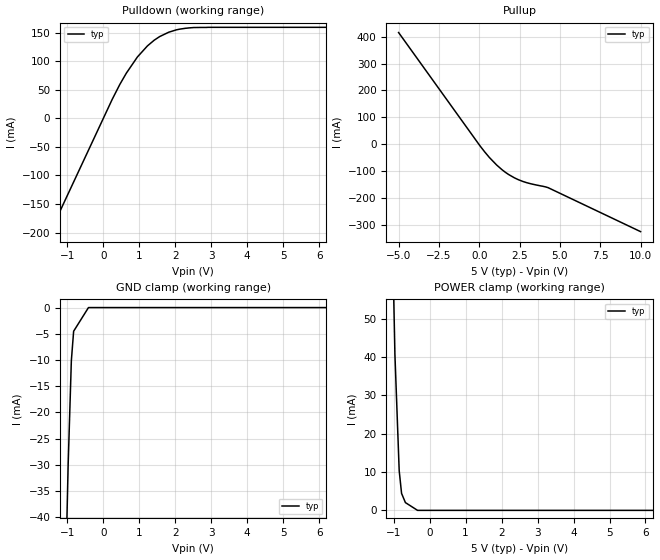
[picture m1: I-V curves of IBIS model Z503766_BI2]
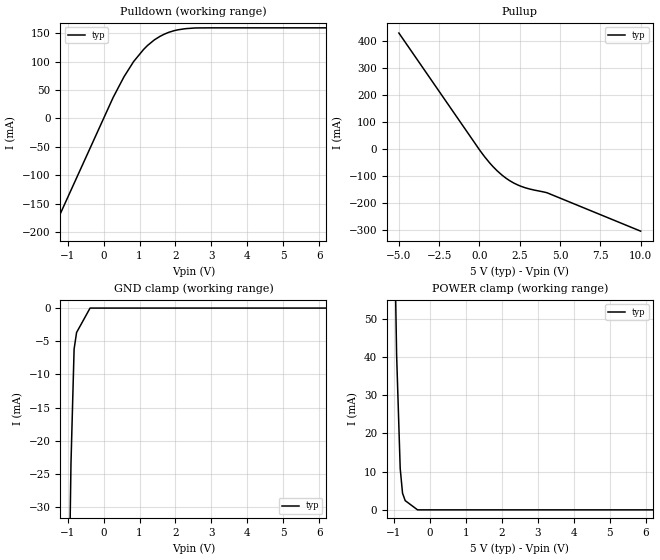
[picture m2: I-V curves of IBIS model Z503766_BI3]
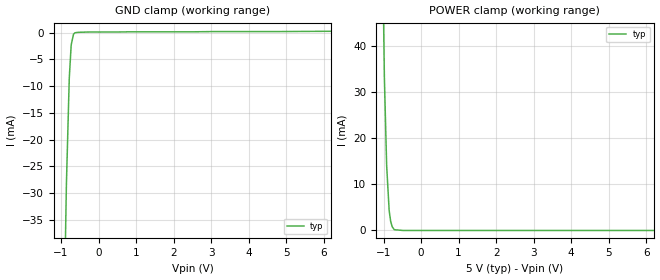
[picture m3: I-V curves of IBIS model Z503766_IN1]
| YOU ARE ONLY AUTHORIZED TO USE THIS SOFTWARE
| ACCORDING TO LICENSOR'S LICENSE RESTRICTIONS.
[IBIS Ver] 3.1
[File Name] mc74ac245n_5.ibs
[File Rev] 2.0
[Source] Measured and created by ICX Technology
[Date] Friday 7/14/00 9:07:59 AM
[Copyright]
| (C) COPYRIGHT 1993-2000
| MENTOR GRAPHICS CORPORATION
| ICX STANDARD LIBRARY, ICX PROJECT MODELING,
| ICX CUSTOM MODELING, ICX VENDOR MODEL
| ALL RIGHTS RESERVED.
| THE FOLLOWING ARE TRADEMARKS OR SERVICE MARKS OF
| MENTOR GRAPHICS CORPORATION:ICX (R), ICX STANDARD
| LIBRARY(R), ICX PROJECT MODELING(R), ICX CUSTOM
| MODELING(R), qualityIBIS(TM), MODELVIEWER(TM),
| AND MODELEDITOR(TM)
| ALL COPIES OF SOFTWARE, INCLUDING BUT NOT LIMITED TO
| ANY MODIFICATIONS, ENHANCEMENTS OR DERIVATIVE WORKS,
| MUST CONTAIN ALL MENTOR GRAPHICS CORPORATION'S
| NOTICES AND LEGENDS, INCLUDING THOSE EMBEDDED IN
| SOFTWARE AND THOSE AFFIXED TO SOFTWARE MEDIUM
| AND CONTAINER, AS RECEIVED FROM MENTOR GRAPHICS
| CORPORATION.
|  ZAP Model Builder 2.7
[Component] MC74AC245N_5
[Manufacturer] OnSemiconductor
[Package]
| variable   typ   min   max
R_pkg  .216ohms NA NA
L_pkg  5.76nH NA NA
C_pkg  1.29pF NA NA
[Pin] signal_name  model_name  R_pin  L_pin C_pin
1 DIR Z503766_IN1 .232 9.76n 1.87p
2 A0 Z503766_BI2 .224 7.26n 1.58p
3 A1 Z503766_BI2 .216 5.26n 1.29p
4 A2 Z503766_BI2 .208 3.76n 1.0p
5 A3 Z503766_BI2 .2 2.76n .71p
6 A4 Z503766_BI2 .2 2.76n .71p
7 A5 Z503766_BI2 .208 3.76n 1.0p
8 A6 Z503766_BI2 .216 5.26n 1.29p
9 A7 Z503766_BI2 .224 7.26n 1.58p
10 GND GND .232 9.76n 1.87p
11 B7 Z503766_BI3 .232 9.76n 1.87p
12 B6 Z503766_BI3 .224 7.26n 1.58p
13 B5 Z503766_BI3 .216 5.26n 1.29p
14 B4 Z503766_BI3 .208 3.76n 1.0p
15 B3 Z503766_BI3 .2 2.76n .71p
16 B2 Z503766_BI3 .2 2.76n .71p
17 B1 Z503766_BI3 .208 3.76n 1.0p
18 B0 Z503766_BI3 .216 5.26n 1.29p
19 _G Z503766_IN4 .224 7.26n 1.58p
20 VCC POWER .232 9.76n 1.87p
| Models and submodels in the file (4): Z503766_BI2 (I/O), Z503766_BI3 (I/O), Z503766_IN1 (Input), Z503766_IN4 (Input)
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| (C) COPYRIGHT 1993-2000
| MENTOR GRAPHICS CORPORATION
| ICX STANDARD LIBRARY, ICX PROJECT MODELING,
| ICX CUSTOM MODELING, ICX VENDOR MODEL
| ALL RIGHTS RESERVED.
| THE FOLLOWING ARE TRADEMARKS OR SERVICE MARKS OF
| MENTOR GRAPHICS CORPORATION:ICX (R), ICX STANDARD
| LIBRARY(R), ICX PROJECT MODELING(R), ICX CUSTOM
| MODELING(R), qualityIBIS(TM), MODELVIEWER(TM),
| AND MODELEDITOR(TM)
| ALL COPIES OF SOFTWARE, INCLUDING BUT NOT LIMITED TO
| ANY MODIFICATIONS, ENHANCEMENTS OR DERIVATIVE WORKS,
| MUST CONTAIN ALL MENTOR GRAPHICS CORPORATION'S
| NOTICES AND LEGENDS, INCLUDING THOSE EMBEDDED IN
| SOFTWARE AND THOSE AFFIXED TO SOFTWARE MEDIUM
| AND CONTAINER, AS RECEIVED FROM MENTOR GRAPHICS
| CORPORATION.
| Model Application Version 1.89 2/18/99.
[Model] Z503766_BI2
Model_type I/O
Vinl=1.500V
Vinh=3.500V
Vref=0.000V
Rref=500.0ohms
Cref=50.00pF
Vmeas=2.500V
C_comp 8.000pF NA NA
| variable typ   min   max
[Voltage Range] 5.000V NA NA
[POWER Clamp Reference] 5.000V NA NA
[Pullup Reference] 5.000V NA NA
[Pulldown Reference] 0.000V NA NA
[GND Clamp Reference] 0.000V NA NA
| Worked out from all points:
|   slope of the pulldown table from 0 to 0.75 V, typ, clamps not added: 8.39 ohm
|   slope of the pullup table from 0 to 0.75 V, typ, clamps not added: 13.7 ohm
[GND Clamp]
-5V       -1.23A     NA         NA
-976.6mV  -29.77mA   NA         NA
-888.7mV  -10.14mA   NA         NA
-825.2mV  -4.515mA   NA         NA
-412.6mV  0A         NA         NA
10V       0A         NA         NA
[Pulldown]
-5V       -675.2mA   NA         NA
249.6mV   33.76mA    NA         NA
460.6mV   59.81mA    NA         NA
639.5mV   79.31mA    NA         NA
948.7mV   107.8mA    NA         NA
1.226V    127.1mA    NA         NA
1.416V    137.2mA    NA         NA
1.818V    151.1mA    NA         NA
2.134V    156.6mA    NA         NA
2.51V     159.3mA    NA         NA
10V       159.7mA    NA         NA
[Pullup]
-5V       415.3mA    NA         NA
36mV      -5.378mA   NA         NA
625mV     -49.27mA   NA         NA
1.416V    -95.19mA   NA         NA
2.183V    -125.2mA   NA         NA
2.691V    -138.3mA   NA         NA
4.262V    -161.5mA   NA         NA
10V       -325.2mA   NA         NA
[POWER Clamp]
-5V       2.14A      NA         NA
-1.182V   137.2mA    NA         NA
-966mV    40.68mA    NA         NA
-847mV    10.34mA    NA         NA
-781mV    4.416mA    NA         NA
-674mV    2.024mA    NA         NA
-337mV    0A         NA         NA
10V       0A         NA         NA
[Ramp]
| variable typ min max
dV/dt_r 2.944/593.2p NA NA
dV/dt_f 2.944/402.6p NA NA
R_load = 500.0Ohms
| (C) COPYRIGHT 1993-2000
| MENTOR GRAPHICS CORPORATION
| ICX STANDARD LIBRARY, ICX PROJECT MODELING,
| ICX CUSTOM MODELING, ICX VENDOR MODEL
| ALL RIGHTS RESERVED.
| THE FOLLOWING ARE TRADEMARKS OR SERVICE MARKS OF
| MENTOR GRAPHICS CORPORATION:ICX (R), ICX STANDARD
| LIBRARY(R), ICX PROJECT MODELING(R), ICX CUSTOM
| MODELING(R), qualityIBIS(TM), MODELVIEWER(TM),
| AND MODELEDITOR(TM)
| ALL COPIES OF SOFTWARE, INCLUDING BUT NOT LIMITED TO
| ANY MODIFICATIONS, ENHANCEMENTS OR DERIVATIVE WORKS,
| MUST CONTAIN ALL MENTOR GRAPHICS CORPORATION'S
| NOTICES AND LEGENDS, INCLUDING THOSE EMBEDDED IN
| SOFTWARE AND THOSE AFFIXED TO SOFTWARE MEDIUM
| AND CONTAINER, AS RECEIVED FROM MENTOR GRAPHICS
| CORPORATION.
| Model Application Version 1.89 2/18/99.
[Model] Z503766_BI3
Model_type I/O
Vinl=1.500V
Vinh=3.500V
Vref=0.000V
Rref=500.0ohms
Cref=50.00pF
Vmeas=2.500V
C_comp 8.000pF NA NA
| variable typ   min   max
[Voltage Range] 5.000V NA NA
[POWER Clamp Reference] 5.000V NA NA
[Pullup Reference] 5.000V NA NA
[Pulldown Reference] 0.000V NA NA
[GND Clamp Reference] 0.000V NA NA
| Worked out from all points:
|   slope of the pulldown table from 0 to 0.75 V, typ, clamps not added: 8.19 ohm
|   slope of the pullup table from 0 to 0.75 V, typ, clamps not added: 13.3 ohm
[GND Clamp]
-5V       -1.289A    NA         NA
-1.085V   -89.42mA   NA         NA
-906.9mV  -23.39mA   NA         NA
-820mV    -6.178mA   NA         NA
-751mV    -3.676mA   NA         NA
-375.5mV  0A         NA         NA
10V       0A         NA         NA
[Pulldown]
-5V       -695.6mA   NA         NA
266.5mV   37.01mA    NA         NA
567mV     73.26mA    NA         NA
835.5mV   100.1mA    NA         NA
1.114V    121.5mA    NA         NA
1.413V    138.3mA    NA         NA
1.817V    151.7mA    NA         NA
2.076V    156.1mA    NA         NA
2.569V    159.3mA    NA         NA
10V       159.5mA    NA         NA
[Pullup]
-5V       430.6mA    NA         NA
36mV      -5.594mA   NA         NA
811mV     -63.07mA   NA         NA
1.415V    -97.21mA   NA         NA
1.875V    -117.1mA   NA         NA
2.589V    -138.2mA   NA         NA
4.204V    -162.2mA   NA         NA
10V       -304.3mA   NA         NA
[POWER Clamp]
-5V       2.757A     NA         NA
-1.114V   144.3mA    NA         NA
-927mV    40.58mA    NA         NA
-827mV    10.84mA    NA         NA
-762mV    4.354mA    NA         NA
-688mV    2.414mA    NA         NA
-344mV    0A         NA         NA
10V       0A         NA         NA
[Ramp]
| variable typ min max
dV/dt_r 2.946/562.7p NA NA
dV/dt_f 2.946/400.4p NA NA
R_load = 500.0Ohms
| (C) COPYRIGHT 1993-2000
| MENTOR GRAPHICS CORPORATION
| ICX STANDARD LIBRARY, ICX PROJECT MODELING,
| ICX CUSTOM MODELING, ICX VENDOR MODEL
| ALL RIGHTS RESERVED.
| THE FOLLOWING ARE TRADEMARKS OR SERVICE MARKS OF
| MENTOR GRAPHICS CORPORATION:ICX (R), ICX STANDARD
| LIBRARY(R), ICX PROJECT MODELING(R), ICX CUSTOM
| MODELING(R), qualityIBIS(TM), MODELVIEWER(TM),
| AND MODELEDITOR(TM)
| ALL COPIES OF SOFTWARE, INCLUDING BUT NOT LIMITED TO
| ANY MODIFICATIONS, ENHANCEMENTS OR DERIVATIVE WORKS,
| MUST CONTAIN ALL MENTOR GRAPHICS CORPORATION'S
| NOTICES AND LEGENDS, INCLUDING THOSE EMBEDDED IN
| SOFTWARE AND THOSE AFFIXED TO SOFTWARE MEDIUM
| AND CONTAINER, AS RECEIVED FROM MENTOR GRAPHICS
| CORPORATION.
| Model Application Version 1.89 2/18/99.
[Model] Z503766_IN1
Model_type Input
Vinl = 1.500V
Vinh = 3.500V
C_comp 4.000pF NA NA
| variable typ   min   max
[Voltage Range] 5.000V NA NA
[GND Clamp Reference] 0.000V NA NA
[POWER Clamp Reference] 5.000V NA NA
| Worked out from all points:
|   GND clamp passes 1 mA (typ) near -0.69 V on its own axis
|   POWER clamp passes 1 mA (typ) near -0.78 V on its own axis
[GND Clamp]
-5V       -3.726A    NA         NA
-1.009V   -90.69mA   NA         NA
-857.2mV  -28.49mA   NA         NA
-780.8mV  -8.559mA   NA         NA
-729.6mV  -2.281mA   NA         NA
-667.6mV  -269.9uA   NA         NA
-628.2mV  1.4uA      NA         NA
-275.5mV  141.3uA    NA         NA
10V       426.9uA    NA         NA
[POWER Clamp]
-5V       4.337A     NA         NA
-1.25V    243.2mA    NA         NA
-1.1V     105.9mA    NA         NA
-978mV    33.35mA    NA         NA
-917mV    14.07mA    NA         NA
-850mV    4.32mA     NA         NA
-811mV    2.022mA    NA         NA
-770mV    824.4uA    NA         NA
-713mV    170uA      NA         NA
-475.3mV  0A         NA         NA
10V       0A         NA         NA
